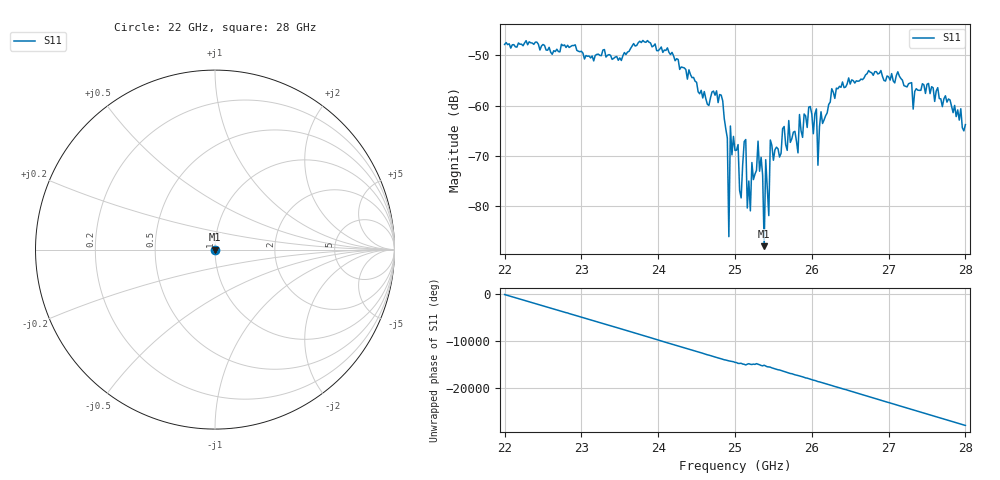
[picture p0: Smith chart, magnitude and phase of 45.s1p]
#  HZ  S  RI  R  50.00
! Rohde & Schwarz ZVA40 4Ports - Version 3.90 - 1145.1110k42 SN: 100403
! Date: 2023-10-04 08:48:57
! Measurement: S12
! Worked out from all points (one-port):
!   301 points, 22 GHz to 28 GHz, reference 50 ohm
!   lowest |S11| = -88.0 dB at 25.38 GHz (marker M1), VSWR 1.00, Z = 50 + j0.00257 ohm
!   |S11| at or under -10 dB: start of sweep to end of sweep
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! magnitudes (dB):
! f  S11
! 22 GHz  -47.8
! 22.76 GHz  -48.1
! 23.5 GHz  -50.5
! 24.26 GHz  -50.8
! 24.82 GHz  -57.9
! 24.9 GHz  -66.5
! 24.92 GHz  -86.1
! 24.94 GHz  -64.1
! 25 GHz  -68.9
! 25.04 GHz  -67.8
! 25.08 GHz  -78.4
! 25.14 GHz  -66.8
! 25.16 GHz  -80.4
! 25.2 GHz  -81.0
! 25.22 GHz  -71.3
! 25.3 GHz  -67.1
! 25.38 GHz  -88.0
! 25.4 GHz  -70.8
! 25.44 GHz  -81.9
! 25.46 GHz  -66.9
! 25.76 GHz  -65.3
! 25.82 GHz  -69.4
! 26.06 GHz  -60.7
! 26.08 GHz  -71.9
! 26.12 GHz  -61.2
! 26.5 GHz  -55.7
! 27.26 GHz  -55.7
! 28 GHz  -63.8
